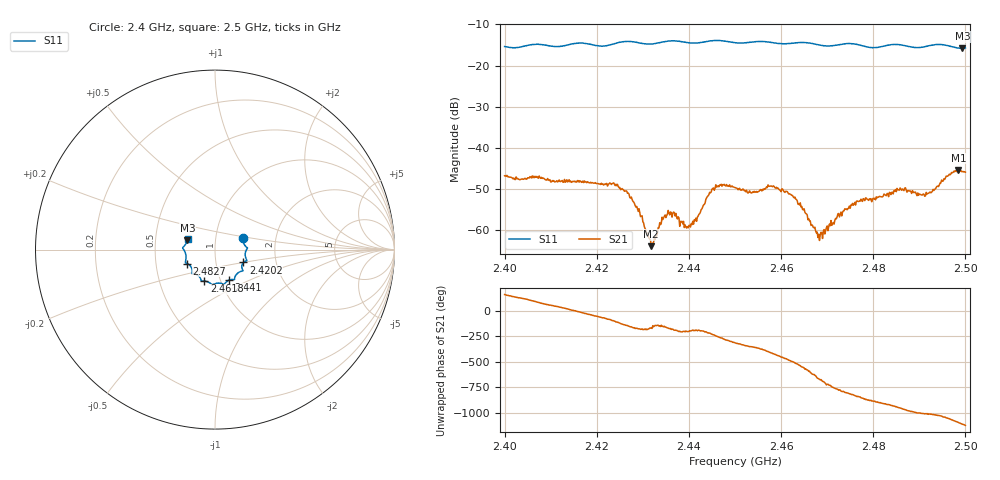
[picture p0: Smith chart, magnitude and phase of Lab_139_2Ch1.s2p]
# Hz S RI R 50
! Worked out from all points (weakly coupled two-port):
!   601 points, 2.4 GHz to 2.5 GHz, reference 50 ohm
!   highest |S21| = -45.36 dB at 2.4985 GHz (marker M1); lowest = -63.9 dB at 2.4318 GHz (marker M2)
!   lowest |S11| = -15.8 dB at 2.4993 GHz (marker M3), VSWR 1.39, Z = 36.5 + j3.85 ohm
!   |S11| at or under -10 dB: start of sweep to end of sweep
!   S12 and S22 are empty: the file has one direction only
!   S11 on the Smith chart (normalised r, x): 2.4 GHz: 1.36, +0.18; 2.4202 GHz: 1.36, -0.20; 2.441 GHz: 1.10, -0.39; 2.4618 GHz: 0.84, -0.30; 2.4827 GHz: 0.72, -0.12; 2.5 GHz: 0.73, +0.09
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2.4e9  0.158 0.0627  -0.00436 0.00144  0 0  0 0
2.416667e9  0.1773 -0.0606  0.00369 -0.000968  0 0  0 0
2.420167e9  0.1581 -0.0714  0.00214 -0.00302  0 0  0 0
2.4265e9  0.1566 -0.1183  -0.00235 -0.00184  0 0  0 0
2.429333e9  0.1428 -0.1219  -0.00164 -0.000102  0 0  0 0
2.431833e9  0.1196 -0.1377  -0.000619 -0.000166  0 0  0 0
2.433333e9  0.1115 -0.1512  -0.000827 -0.000691  0 0  0 0
2.435667e9  0.1093 -0.1656  -0.00161 -0.000229  0 0  0 0
2.4395e9  0.0932 -0.1661  -0.000995 0.000377  0 0  0 0
2.441e9  0.0785 -0.1699  -0.00115 0.000272  0 0  0 0
2.4455e9  0.0511 -0.1944  -0.00168 0.00255  0 0  0 0
2.45e9  0.0283 -0.1871  0.00225 0.00242  0 0  0 0
2.461833e9  -0.0595 -0.1753  -0.00162 -0.00224  0 0  0 0
2.466667e9  -0.0782 -0.1682  -0.000263 0.00113  0 0  0 0
2.4685e9  -0.0841 -0.155  0.000647 0.0006  0 0  0 0
2.476e9  -0.1273 -0.1304  -0.000802 -0.00203  0 0  0 0
2.482667e9  -0.1559 -0.0774  -0.00262 0.000571  0 0  0 0
2.483333e9  -0.1602 -0.0754  -0.00241 0.000863  0 0  0 0
2.491667e9  -0.1714 -0.00462  0.00109 0.00252  0 0  0 0
2.4985e9  -0.1579 0.0399  0.00518 -0.00152  0 0  0 0
2.499333e9  -0.1536 0.0513  0.00432 -0.0028  0 0  0 0
2.5e9  -0.152 0.0607  0.00357 -0.0036  0 0  0 0
